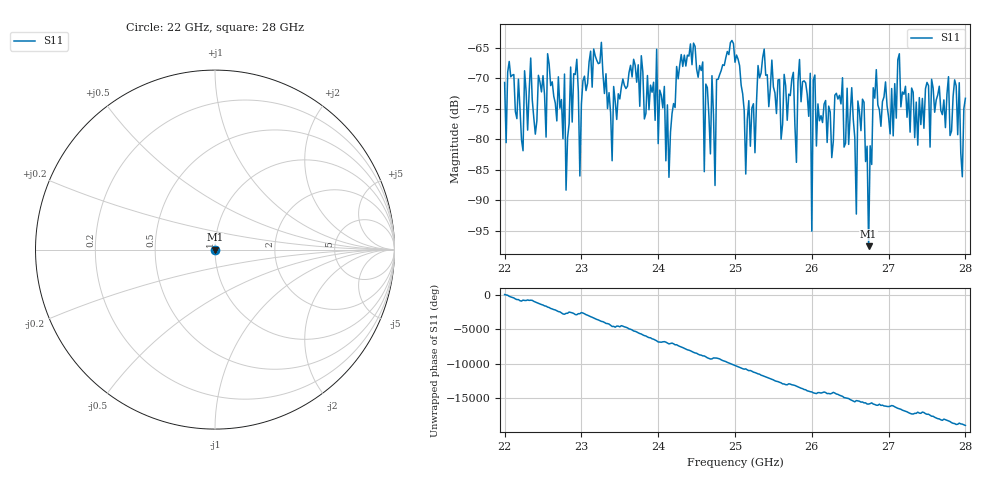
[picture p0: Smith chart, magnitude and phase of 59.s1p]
#  HZ  S  RI  R  50.00
! Rohde & Schwarz ZVA40 4Ports - Version 3.90 - 1145.1110k42 SN: 100403
! Date: 2023-10-04 09:01:35
! Measurement: S12
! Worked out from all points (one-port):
!   301 points, 22 GHz to 28 GHz, reference 50 ohm
!   lowest |S11| = -97.5 dB at 26.74 GHz (marker M1), VSWR 1.00, Z = 50 + j0.000735 ohm
!   |S11| at or under -10 dB: start of sweep to end of sweep
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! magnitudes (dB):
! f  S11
! 22 GHz  -70.7
! 22.24 GHz  -81.9
! 22.34 GHz  -66.7
! 22.54 GHz  -79.6
! 22.56 GHz  -66.0
! 22.76 GHz  -79.9
! 22.94 GHz  -66.9
! 22.98 GHz  -86.0
! 23.12 GHz  -65.5
! 23.5 GHz  -73.4
! 24.26 GHz  -70.1
! 24.46 GHz  -64.2
! 24.74 GHz  -87.6
! 25 GHz  -67.4
! 25.14 GHz  -85.7
! 25.38 GHz  -65.2
! 25.6 GHz  -80.0
! 25.76 GHz  -69.0
! 25.8 GHz  -83.8
! 25.84 GHz  -66.9
! 26 GHz  -95.1
! 26.04 GHz  -69.5
! 26.06 GHz  -81.1
! 26.5 GHz  -75.9
! 26.74 GHz  -97.5
! 26.84 GHz  -68.6
! 27.26 GHz  -72.5
! 28 GHz  -73.3
